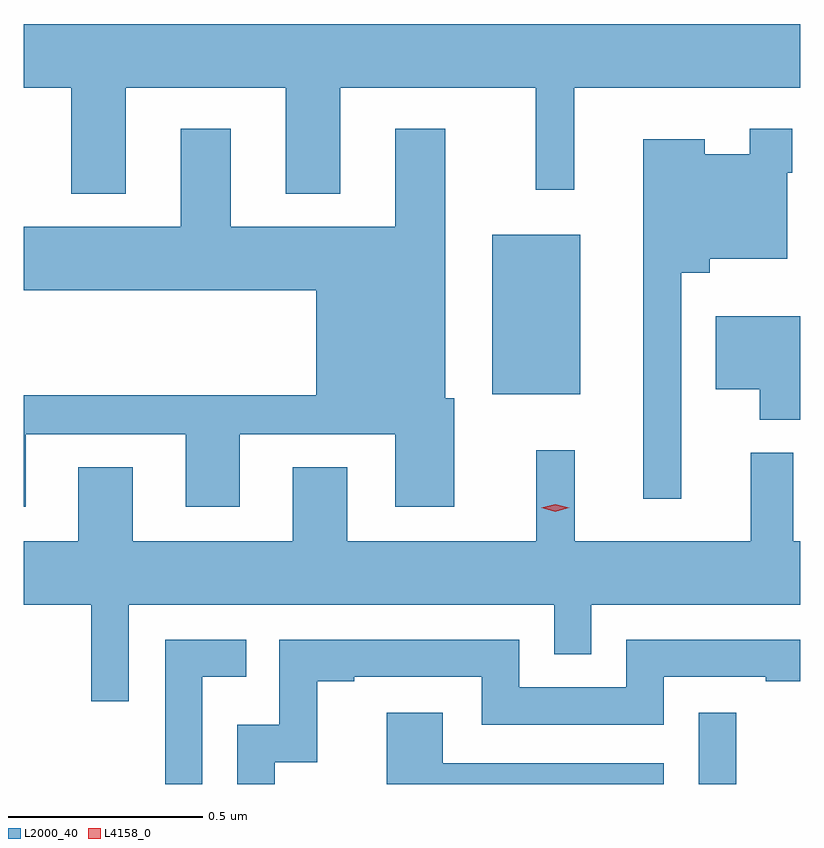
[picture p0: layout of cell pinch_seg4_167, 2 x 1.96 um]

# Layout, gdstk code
import gdstk
lib = gdstk.Library(unit=1e-6, precision=1e-09)
def R(c, l, rs):  # rectangles x0, y0, x1, y1
    for r in rs: c.add(gdstk.rectangle(r[:2], r[2:], *l))
def P(c, l, *ps):  # polygons
    for p in ps: c.add(gdstk.Polygon(p, *l))
L2000_40 = (2000, 40)
L4158_0 = (4158, 0)

pinch_seg4_167 = lib.new_cell('pinch_seg4_167')
R(pinch_seg4_167, L2000_40, [(1121.808,800.355,1121.905,800.539), (1121.276,801.359,1121.503,801.769)])
P(pinch_seg4_167, L2000_40, [(1120.333,802.148),(1120.745,802.148),(1120.745,801.875),(1120.885,801.875),(1120.885,802.148),(1121.389,802.148),(1121.389,801.885),(1121.488,801.885),(1121.488,802.148),(1122.07,802.148),(1122.07,802.312),(1120.07,802.312),(1120.07,802.148),(1120.193,802.148),(1120.193,801.875),(1120.333,801.875)],
  [(1120.075,801.255),(1120.487,801.255),(1120.487,801.069),(1120.627,801.069),(1120.627,801.255),(1121.027,801.255),(1121.027,801.069),(1121.179,801.069),(1121.179,801.348),(1121.155,801.348),(1121.155,802.042),(1121.027,802.042),(1121.027,801.79),(1120.603,801.79),(1120.603,802.042),(1120.475,802.042),(1120.475,801.79),(1120.07,801.79),(1120.07,801.626),(1120.823,801.626),(1120.823,801.356),(1120.07,801.356),(1120.07,801.069),(1120.075,801.069)],
  [(1121.763,801.671),(1121.837,801.671),(1121.837,801.707),(1122.036,801.707),(1122.036,801.929),(1122.049,801.929),(1122.049,802.042),(1121.94,802.042),(1121.94,801.976),(1121.824,801.976),(1121.824,802.015),(1121.666,802.015),(1121.666,801.09),(1121.763,801.09)],
  [(1122.07,801.559),(1121.852,801.559),(1121.852,801.371),(1121.966,801.371),(1121.966,801.293),(1122.07,801.293)],
  [(1120.341,800.816),(1121.436,800.816),(1121.436,800.689),(1121.532,800.689),(1121.532,800.816),(1122.07,800.816),(1122.07,800.98),(1122.052,800.98),(1122.052,801.208),(1121.942,801.208),(1121.942,800.98),(1121.489,800.98),(1121.489,801.214),(1121.39,801.214),(1121.39,800.98),(1120.903,800.98),(1120.903,801.17),(1120.763,801.17),(1120.763,800.98),(1120.351,800.98),(1120.351,801.17),(1120.211,801.17),(1120.211,800.98),(1120.07,800.98),(1120.07,800.816),(1120.244,800.816),(1120.244,800.568),(1120.341,800.568)],
  [(1120.53,800.631),(1120.643,800.631),(1120.643,800.727),(1120.434,800.727),(1120.434,800.355),(1120.53,800.355)],
  [(1120.716,800.411),(1120.826,800.411),(1120.826,800.619),(1120.921,800.619),(1120.921,800.631),(1121.25,800.631),(1121.25,800.508),(1121.718,800.508),(1121.718,800.631),(1121.981,800.631),(1121.981,800.619),(1122.07,800.619),(1122.07,800.727),(1121.622,800.727),(1121.622,800.604),(1121.346,800.604),(1121.346,800.727),(1120.728,800.727),(1120.728,800.508),(1120.62,800.508),(1120.62,800.355),(1120.716,800.355)],
  [(1121.718,800.409),(1121.149,800.409),(1121.149,800.539),(1121.005,800.539),(1121.005,800.355),(1121.718,800.355)])
P(pinch_seg4_167, L4158_0, [(1121.439,801.056),(1121.403,801.066),(1121.403,801.066),(1121.403,801.066),(1121.439,801.076),(1121.475,801.066),(1121.475,801.066),(1121.475,801.066)])

lib.write_gds('pinch_seg4_167.gds')
